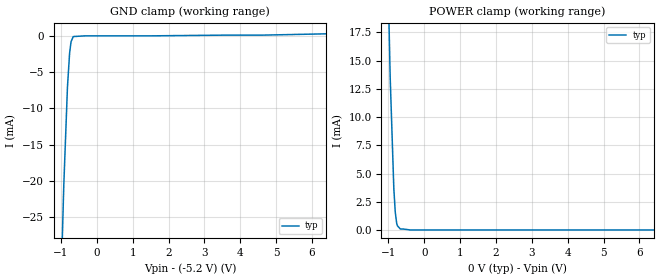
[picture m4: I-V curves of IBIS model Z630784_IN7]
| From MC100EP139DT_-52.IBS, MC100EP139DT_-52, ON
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| (C) COPYRIGHT 1993-2000
| MENTOR GRAPHICS CORPORATION
| ICX STANDARD LIBRARY, ICX PROJECT MODELING,
| ICX CUSTOM MODELING, ICX VENDOR MODEL
| ALL RIGHTS RESERVED.
| THE FOLLOWING ARE TRADEMARKS OR SERVICE MARKS OF
| MENTOR GRAPHICS CORPORATION:ICX (R), ICX STANDARD
| LIBRARY(R), ICX PROJECT MODELING(R), ICX CUSTOM
| MODELING(R), qualityIBIS(TM), MODELVIEWER(TM),
| AND MODELEDITOR(TM)
| ALL COPIES OF SOFTWARE, INCLUDING BUT NOT LIMITED TO
| ANY MODIFICATIONS, ENHANCEMENTS OR DERIVATIVE WORKS,
| MUST CONTAIN ALL MENTOR GRAPHICS CORPORATION'S
| NOTICES AND LEGENDS, INCLUDING THOSE EMBEDDED IN
| SOFTWARE AND THOSE AFFIXED TO SOFTWARE MEDIUM
| AND CONTAINER, AS RECEIVED FROM MENTOR GRAPHICS
| CORPORATION.
| Model Application Version 1.89 2/18/99.
[Model] Z630784_IN7
Model_type Input_ECL
Vinl = -1.642V
Vinh = -1.022V
C_comp 3.000pF NA NA
| variable typ   min   max
[Voltage Range] -5.200V NA NA
[GND Clamp Reference] -5.200V NA NA
[POWER Clamp Reference] 0.000V NA NA
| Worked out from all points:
|   GND clamp passes 1 mA (typ) near -0.72 V on its own axis
|   POWER clamp passes 1 mA (typ) near -0.79 V on its own axis
[GND Clamp]
-5.2V     -781.1mA   NA         NA
-922mV    -20.6mA    NA         NA
-820mV    -7.1mA     NA         NA
-760mV    -2.4mA     NA         NA
-719mV    -800uA     NA         NA
-658mV    -100uA     NA         NA
-329mV    0A         NA         NA
1.511V    0A         NA         NA
3.64V     100uA      NA         NA
4.633V    100uA      NA         NA
10.4V     681.1uA    NA         NA
[POWER Clamp]
-5.2V     757.9mA    NA         NA
-1.074V   31.23mA    NA         NA
-953mV    13.55mA    NA         NA
-851mV    3.657mA    NA         NA
-811mV    1.561mA    NA         NA
-770mV    565.2uA    NA         NA
-750mV    367.3uA    NA         NA
-669mV    83.58uA    NA         NA
-588mV    83.58uA    NA         NA
-392mV    0A         NA         NA
10.4V     0A         NA         NA
